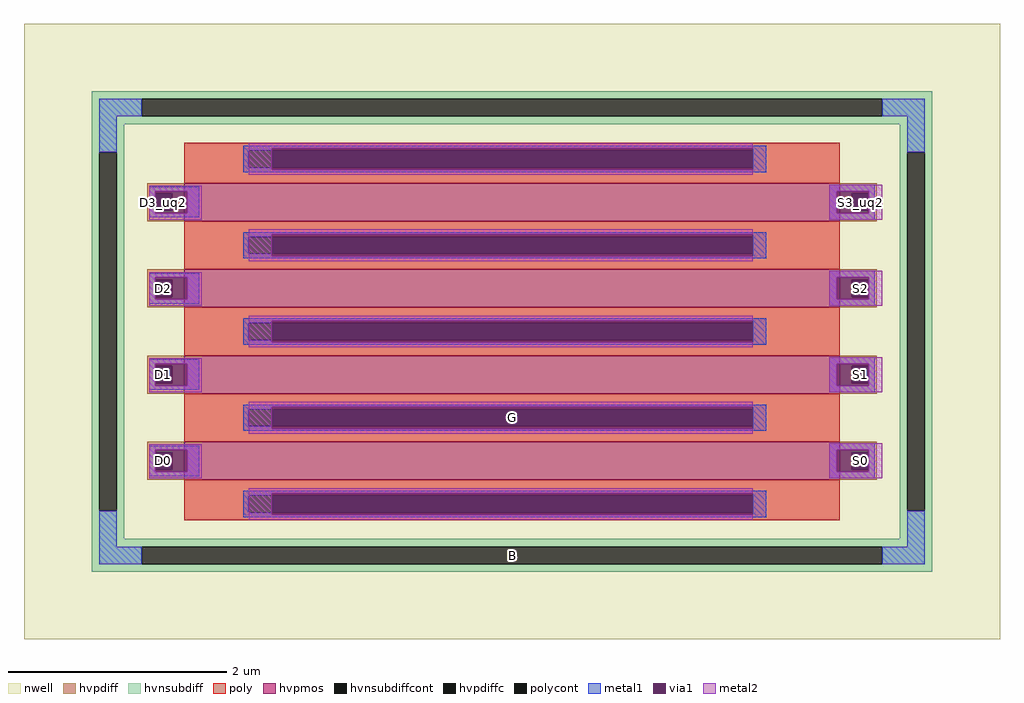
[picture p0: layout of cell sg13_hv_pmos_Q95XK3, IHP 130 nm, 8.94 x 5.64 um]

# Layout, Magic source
magic
tech ihp-sg13cmos5l
magscale 1 2
<< nwell >>
rect -894 -564 894 564
<< hvpmos >>
rect -600 202 600 272
rect -600 44 600 114
rect -600 -114 600 -44
rect -600 -272 600 -202
<< hvpdiff >>
rect -668 253 -600 272
rect -668 221 -654 253
rect -622 221 -600 253
rect -668 202 -600 221
rect 600 253 668 272
rect 600 221 622 253
rect 654 221 668 253
rect 600 202 668 221
rect -668 95 -600 114
rect -668 63 -654 95
rect -622 63 -600 95
rect -668 44 -600 63
rect 600 95 668 114
rect 600 63 622 95
rect 654 63 668 95
rect 600 44 668 63
rect -668 -63 -600 -44
rect -668 -95 -654 -63
rect -622 -95 -600 -63
rect -668 -114 -600 -95
rect 600 -63 668 -44
rect 600 -95 622 -63
rect 654 -95 668 -63
rect 600 -114 668 -95
rect -668 -221 -600 -202
rect -668 -253 -654 -221
rect -622 -253 -600 -221
rect -668 -272 -600 -253
rect 600 -221 668 -202
rect 600 -253 622 -221
rect 654 -253 668 -221
rect 600 -272 668 -253
<< hvpdiffc >>
rect -654 221 -622 253
rect 622 221 654 253
rect -654 63 -622 95
rect 622 63 654 95
rect -654 -95 -622 -63
rect 622 -95 654 -63
rect -654 -253 -622 -221
rect 622 -253 654 -221
<< hvnsubdiff >>
rect -770 426 770 440
rect -770 394 -678 426
rect 678 394 770 426
rect -770 380 770 394
rect -770 328 -710 380
rect -770 -328 -756 328
rect -724 -328 -710 328
rect 710 328 770 380
rect -770 -380 -710 -328
rect 710 -328 724 328
rect 756 -328 770 328
rect 710 -380 770 -328
rect -770 -394 770 -380
rect -770 -426 -678 -394
rect 678 -426 770 -394
rect -770 -440 770 -426
<< hvnsubdiffcont >>
rect -678 394 678 426
rect -756 -328 -724 328
rect 724 -328 756 328
rect -678 -426 678 -394
<< poly >>
rect -600 332 600 346
rect -600 300 -482 332
rect 441 300 600 332
rect -600 272 600 300
rect -600 174 600 202
rect -600 142 -482 174
rect 441 142 600 174
rect -600 114 600 142
rect -600 16 600 44
rect -600 -16 -482 16
rect 441 -16 600 16
rect -600 -44 600 -16
rect -600 -142 600 -114
rect -600 -174 -482 -142
rect 441 -174 600 -142
rect -600 -202 600 -174
rect -600 -300 600 -272
rect -600 -332 -482 -300
rect 441 -332 600 -300
rect -600 -346 600 -332
<< polycont >>
rect -482 300 441 332
rect -482 142 441 174
rect -482 -16 441 16
rect -482 -174 441 -142
rect -482 -332 441 -300
<< metal1 >>
rect -756 394 -678 426
rect 678 394 756 426
rect -756 328 -724 394
rect -492 336 466 340
rect -492 332 -440 336
rect -492 300 -482 332
rect -492 296 -440 300
rect 441 296 466 336
rect -492 292 466 296
rect 724 328 756 394
rect -665 257 -573 265
rect -665 217 -654 257
rect -595 217 -573 257
rect -665 209 -573 217
rect 581 257 665 269
rect 581 217 595 257
rect 654 217 665 257
rect 581 205 665 217
rect -492 178 466 182
rect -492 174 -440 178
rect -492 142 -482 174
rect -492 138 -440 142
rect 441 138 466 178
rect -492 134 466 138
rect -665 99 -573 107
rect -665 59 -654 99
rect -595 59 -573 99
rect -665 51 -573 59
rect 581 99 665 111
rect 581 59 595 99
rect 654 59 665 99
rect 581 47 665 59
rect -492 20 466 24
rect -492 16 -440 20
rect -492 -16 -482 16
rect -492 -20 -440 -16
rect 441 -20 466 20
rect -492 -24 466 -20
rect -665 -59 -573 -51
rect -665 -99 -654 -59
rect -595 -99 -573 -59
rect -665 -107 -573 -99
rect 581 -59 665 -47
rect 581 -99 595 -59
rect 654 -99 665 -59
rect 581 -111 665 -99
rect -492 -138 466 -134
rect -492 -142 -440 -138
rect -492 -174 -482 -142
rect -492 -178 -440 -174
rect 441 -178 466 -138
rect -492 -182 466 -178
rect -665 -217 -573 -209
rect -665 -257 -654 -217
rect -595 -257 -573 -217
rect -665 -265 -573 -257
rect 581 -217 665 -205
rect 581 -257 595 -217
rect 654 -257 665 -217
rect 581 -269 665 -257
rect -756 -394 -724 -328
rect -492 -296 466 -292
rect -492 -300 -440 -296
rect -492 -332 -482 -300
rect -492 -336 -440 -332
rect 441 -336 466 -296
rect -492 -340 466 -336
rect 724 -394 756 -328
rect -756 -426 -678 -394
rect 678 -426 756 -394
<< via1 >>
rect -440 332 441 336
rect -440 300 441 332
rect -440 296 441 300
rect -654 253 -595 257
rect -654 221 -622 253
rect -622 221 -595 253
rect -654 217 -595 221
rect 595 253 654 257
rect 595 221 622 253
rect 622 221 654 253
rect 595 217 654 221
rect -440 174 441 178
rect -440 142 441 174
rect -440 138 441 142
rect -654 95 -595 99
rect -654 63 -622 95
rect -622 63 -595 95
rect -654 59 -595 63
rect 595 95 654 99
rect 595 63 622 95
rect 622 63 654 95
rect 595 59 654 63
rect -440 16 441 20
rect -440 -16 441 16
rect -440 -20 441 -16
rect -654 -63 -595 -59
rect -654 -95 -622 -63
rect -622 -95 -595 -63
rect -654 -99 -595 -95
rect 595 -63 654 -59
rect 595 -95 622 -63
rect 622 -95 654 -63
rect 595 -99 654 -95
rect -440 -142 441 -138
rect -440 -174 441 -142
rect -440 -178 441 -174
rect -654 -221 -595 -217
rect -654 -253 -622 -221
rect -622 -253 -595 -221
rect -654 -257 -595 -253
rect 595 -221 654 -217
rect 595 -253 622 -221
rect 622 -253 654 -221
rect 595 -257 654 -253
rect -440 -300 441 -296
rect -440 -332 441 -300
rect -440 -336 441 -332
<< metal2 >>
rect -482 336 441 345
rect -482 296 -440 336
rect -482 287 441 296
rect -665 257 -568 267
rect -665 217 -654 257
rect -595 217 -568 257
rect -665 205 -568 217
rect 581 257 678 269
rect 581 217 595 257
rect 654 217 678 257
rect 581 205 678 217
rect -482 178 441 187
rect -482 138 -440 178
rect -482 129 441 138
rect -665 99 -568 109
rect -665 59 -654 99
rect -595 59 -568 99
rect -665 47 -568 59
rect 581 99 678 111
rect 581 59 595 99
rect 654 59 678 99
rect 581 47 678 59
rect -482 20 441 29
rect -482 -20 -440 20
rect -482 -29 441 -20
rect -665 -59 -568 -49
rect -665 -99 -654 -59
rect -595 -99 -568 -59
rect -665 -111 -568 -99
rect 581 -59 678 -47
rect 581 -99 595 -59
rect 654 -99 678 -59
rect 581 -111 678 -99
rect -482 -138 441 -129
rect -482 -178 -440 -138
rect -482 -187 441 -178
rect -665 -217 -568 -207
rect -665 -257 -654 -217
rect -595 -257 -568 -217
rect -665 -269 -568 -257
rect 581 -217 678 -205
rect 581 -257 595 -217
rect 654 -257 678 -217
rect 581 -269 678 -257
rect -482 -296 441 -287
rect -482 -336 -440 -296
rect -482 -345 441 -336
<< labels >>
rlabel hvpdiffc -638 -237 -638 -237 0 D0
port 2 nsew
rlabel polycont 0 -158 0 -158 0 G
port 4 nsew
rlabel hvpdiffc -638 -79 -638 -79 0 D1
port 5 nsew
rlabel hvpdiffc -638 79 -638 79 0 D2
port 7 nsew
rlabel hvpdiffc -638 -79 -638 -79 0 D3
port 9 nsew
rlabel hvpdiffc 638 79 638 79 0 S2
port 8 nsew
rlabel hvpdiffc 638 -79 638 -79 0 S1
port 6 nsew
rlabel hvpdiffc 638 -237 638 -237 0 S0
port 3 nsew
rlabel hvpdiffc 638 -79 638 -79 0 S3
port 10 nsew
rlabel hvnsubdiffcont 0 -410 0 -410 0 B
port 1 nsew
rlabel hvpdiffc 638 -237 638 -237 0 S3_uq0
port 11 nsew
rlabel hvpdiffc 638 79 638 79 0 S3_uq1
port 12 nsew
rlabel hvpdiffc 638 237 638 237 0 S3_uq2
port 13 nsew
rlabel hvpdiffc -638 -237 -638 -237 0 D3_uq0
port 14 nsew
rlabel hvpdiffc -638 79 -638 79 0 D3_uq1
port 15 nsew
rlabel hvpdiffc -638 237 -638 237 0 D3_uq2
port 16 nsew
<< properties >>
string FIXED_BBOX -740 -390 740 390
string gencell sg13_hv_pmos
string library sg13cmos5l
string parameters w 0.35 l 6.0 m 4 ng 1 diffcov 50 polycov 100 guard 1 glc 1 grc 1 gtc 1 gbc 1 tbcov 100 rlcov 100 topc 1 botc 1 poverlap 1 doverlap 0 lmin 0.4 wmin 0.15 class mosfet compatible {sg13_lv_pmos sg13_hv_pmos} full_metal 1 conn_gates 1 gate_ring 0 ccols 1 viasrc 0 viadrn 0 viagate 100 viagb 0 viagr 0 viagl 0 viagt 0 doports 1
<< end >>
